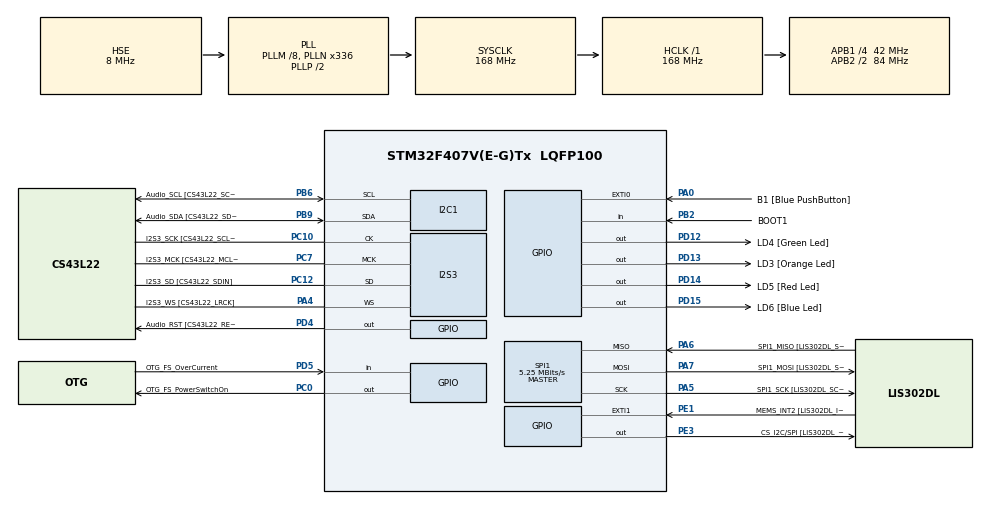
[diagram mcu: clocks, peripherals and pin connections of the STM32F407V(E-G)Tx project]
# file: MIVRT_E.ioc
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FREERTOS.Tasks01=Sensor,40,256,Task_sensor,Default,NULL,Dynamic,NULL,NULL;Proceso,32,256,Task_proceso,Default,NULL,Dynamic,NULL,NULL;Seguridad,24,256,Task_seguridad,Default,NULL,Dynamic,NULL,NULL;comms,16,256,Task_comms,Default,NULL,Dynamic,NULL,NULL;Carrera,9,128,Task_carrera,Default,NULL,Dynamic,NULL,NULL;Diagnostico,8,128,Task_diagnostico,Default,NULL,Dynamic,NULL,NULL
I2S3.AudioFreq-Half_Duplex_Master=I2S_AUDIOFREQ_96K
I2S3.ErrorAudioFreq=-2.34 %
I2S3.ErrorAudioFreq-Half_Duplex_Master=0.8 %
I2S3.FullDuplexMode=I2S_FULLDUPLEXMODE_DISABLE
I2S3.Instance=SPI$Index
I2S3.RealAudioFreq=93.75 KHz
I2S3.RealAudioFreq-Half_Duplex_Master=96.774 KHz
I2S3.VirtualMode=I2S_MODE_MASTER
Mcu.Family=STM32F4
Mcu.Name=STM32F407V(E-G)Tx
Mcu.Package=LQFP100
NVIC.PriorityGroup=NVIC_PRIORITYGROUP_4
NVIC.TIM6_DAC_IRQn=true\:15\:0\:false\:false\:true\:false\:false\:true\:true
NVIC.TimeBase=TIM6_DAC_IRQn
NVIC.TimeBaseIP=TIM6
PA0-WKUP.GPIO_Label=B1 [Blue PushButton]
PA0-WKUP.GPIO_ModeDefaultEXTI=GPIO_MODE_EVT_RISING
PA0-WKUP.GPIO_PuPd=GPIO_NOPULL
PA0-WKUP.Signal=GPXTI0
PA10.GPIO_Label=OTG_FS_ID
PA10.GPIO_Mode=GPIO_MODE_AF_PP
PA10.GPIO_PuPd=GPIO_NOPULL
PA10.GPIO_Speed=GPIO_SPEED_FREQ_LOW
PA10.Signal=USB_OTG_FS_ID
PA11.GPIO_Label=OTG_FS_DM
PA11.GPIO_Mode=GPIO_MODE_AF_PP
PA11.GPIO_PuPd=GPIO_NOPULL
PA11.GPIO_Speed=GPIO_SPEED_FREQ_LOW
PA11.Signal=USB_OTG_FS_DM
PA12.GPIO_Label=OTG_FS_DP
PA12.GPIO_Mode=GPIO_MODE_AF_PP
PA12.GPIO_PuPd=GPIO_NOPULL
PA12.GPIO_Speed=GPIO_SPEED_FREQ_LOW
PA12.Signal=USB_OTG_FS_DP
PA13.GPIO_Label=SWDIO
PA13.Mode=Serial_Wire
PA13.Signal=SYS_JTMS-SWDIO
PA14.GPIO_Label=SWCLK
PA14.Mode=Serial_Wire
PA14.Signal=SYS_JTCK-SWCLK
PA4.GPIO_Label=I2S3_WS [CS43L22_LRCK]
PA4.GPIO_Mode=GPIO_MODE_AF_PP
PA4.GPIO_PuPd=GPIO_NOPULL
PA4.GPIO_Speed=GPIO_SPEED_FREQ_LOW
PA4.Mode=Half_Duplex_Master
PA4.Signal=I2S3_WS
PA5.GPIO_Label=SPI1_SCK [LIS302DL_SCL/SPC]
PA5.GPIO_Mode=GPIO_MODE_AF_PP
PA5.GPIO_PuPd=GPIO_NOPULL
PA5.GPIO_Speed=GPIO_SPEED_FREQ_LOW
PA5.Mode=Full_Duplex_Master
PA5.Signal=SPI1_SCK
PA6.GPIO_Label=SPI1_MISO [LIS302DL_SDO]
PA6.GPIO_Mode=GPIO_MODE_AF_PP
PA6.GPIO_PuPd=GPIO_NOPULL
PA6.GPIO_Speed=GPIO_SPEED_FREQ_LOW
PA6.Mode=Full_Duplex_Master
PA6.Signal=SPI1_MISO
PA7.GPIO_Label=SPI1_MOSI [LIS302DL_SDA/SDI/SDO]
PA7.GPIO_Mode=GPIO_MODE_AF_PP
PA7.GPIO_PuPd=GPIO_NOPULL
PA7.GPIO_Speed=GPIO_SPEED_FREQ_LOW
PA7.Mode=Full_Duplex_Master
PA7.Signal=SPI1_MOSI
PA9.GPIO_Label=VBUS_FS
PA9.GPIO_Mode=GPIO_MODE_INPUT
PA9.GPIO_PuPd=GPIO_NOPULL
PA9.Signal=USB_OTG_FS_VBUS
PB10.GPIO_Label=CLK_IN [MP45DT02_CLK]
PB10.GPIO_Mode=GPIO_MODE_AF_PP
PB10.GPIO_PuPd=GPIO_NOPULL
PB10.GPIO_Speed=GPIO_SPEED_FREQ_LOW
PB10.Signal=I2S2_CK
PB2.GPIO_Label=BOOT1
PB2.GPIO_Mode=GPIO_MODE_INPUT
PB2.GPIO_PuPd=GPIO_NOPULL
PB2.Signal=GPIO_Input
PB3.GPIO_Label=SWO
PB3.Signal=SYS_JTDO-SWO
PB6.GPIO_Label=Audio_SCL [CS43L22_SCL]
PB6.GPIO_Mode=GPIO_MODE_AF_OD
PB6.GPIO_Pu=GPIO_PULLUP
PB6.GPIO_PuPd=GPIO_NOPULL
PB6.GPIO_Speed=GPIO_SPEED_FREQ_LOW
PB6.Mode=I2C
PB6.Signal=I2C1_SCL
PB9.GPIO_Label=Audio_SDA [CS43L22_SDA]
PB9.GPIO_Mode=GPIO_MODE_AF_OD
PB9.GPIO_Pu=GPIO_PULLUP
PB9.GPIO_PuPd=GPIO_NOPULL
PB9.GPIO_Speed=GPIO_SPEED_FREQ_LOW
PB9.Mode=I2C
PB9.Signal=I2C1_SDA
PC0.GPIO_Label=OTG_FS_PowerSwitchOn
PC0.GPIO_PuPd=GPIO_NOPULL
PC0.GPIO_Speed=GPIO_SPEED_FREQ_LOW
PC0.PinState=GPIO_PIN_SET
PC0.Signal=GPIO_Output
PC10.GPIO_Label=I2S3_SCK [CS43L22_SCLK]
PC10.GPIO_Mode=GPIO_MODE_AF_PP
PC10.GPIO_PuPd=GPIO_NOPULL
PC10.GPIO_Speed=GPIO_SPEED_FREQ_LOW
PC10.Mode=Half_Duplex_Master
PC10.Signal=I2S3_CK
PC12.GPIO_Label=I2S3_SD [CS43L22_SDIN]
PC12.GPIO_Mode=GPIO_MODE_AF_PP
PC12.GPIO_PuPd=GPIO_NOPULL
PC12.GPIO_Speed=GPIO_SPEED_FREQ_LOW
PC12.Mode=Half_Duplex_Master
PC12.Signal=I2S3_SD
PC14-OSC32_IN.GPIO_Label=PC14-OSC32_IN
PC14-OSC32_IN.Mode=LSE-External-Oscillator
PC14-OSC32_IN.Signal=RCC_OSC32_IN
PC15-OSC32_OUT.GPIO_Label=PC15-OSC32_OUT
PC15-OSC32_OUT.Mode=LSE-External-Oscillator
PC15-OSC32_OUT.Signal=RCC_OSC32_OUT
PC3.GPIO_Label=PDM_OUT [MP45DT02_DOUT]
PC3.GPIO_Mode=GPIO_MODE_AF_PP
PC3.GPIO_PuPd=GPIO_NOPULL
PC3.GPIO_Speed=GPIO_SPEED_FREQ_LOW
PC3.Signal=I2S2_SD
PC7.GPIO_Label=I2S3_MCK [CS43L22_MCLK]
PC7.GPIO_Mode=GPIO_MODE_AF_PP
PC7.GPIO_PuPd=GPIO_NOPULL
PC7.GPIO_Speed=GPIO_SPEED_FREQ_LOW
PC7.Mode=Master_Clock_Activated
PC7.Signal=I2S3_MCK
PD12.GPIO_Label=LD4 [Green Led]
PD12.GPIO_PuPd=GPIO_NOPULL
PD12.GPIO_Speed=GPIO_SPEED_FREQ_LOW
PD12.Signal=GPIO_Output
PD13.GPIO_Label=LD3 [Orange Led]
PD13.GPIO_PuPd=GPIO_NOPULL
PD13.GPIO_Speed=GPIO_SPEED_FREQ_LOW
PD13.Signal=GPIO_Output
PD14.GPIO_Label=LD5 [Red Led]
PD14.GPIO_PuPd=GPIO_NOPULL
PD14.GPIO_Speed=GPIO_SPEED_FREQ_LOW
PD14.Signal=GPIO_Output
PD15.GPIO_Label=LD6 [Blue Led]
PD15.GPIO_PuPd=GPIO_NOPULL
PD15.GPIO_Speed=GPIO_SPEED_FREQ_LOW
PD15.Signal=GPIO_Output
PD4.GPIO_Label=Audio_RST [CS43L22_RESET]
PD4.GPIO_PuPd=GPIO_NOPULL
PD4.GPIO_Speed=GPIO_SPEED_FREQ_LOW
PD4.Signal=GPIO_Output
PD5.GPIO_Label=OTG_FS_OverCurrent
PD5.GPIO_Mode=GPIO_MODE_INPUT
PD5.GPIO_PuPd=GPIO_NOPULL
PD5.Signal=GPIO_Input
PE1.GPIO_Label=MEMS_INT2 [LIS302DL_INT2]
PE1.GPIO_ModeDefaultEXTI=GPIO_MODE_EVT_RISING
PE1.GPIO_PuPd=GPIO_NOPULL
PE1.Signal=GPXTI1
PE3.GPIO_Label=CS_I2C/SPI [LIS302DL_CS_I2C/SPI]
PE3.GPIO_PuPd=GPIO_NOPULL
PE3.GPIO_Speed=GPIO_SPEED_FREQ_LOW
PE3.PinState=GPIO_PIN_SET
PE3.Signal=GPIO_Output
PH0-OSC_IN.GPIO_Label=PH0-OSC_IN
PH0-OSC_IN.Mode=HSE-External-Oscillator
PH0-OSC_IN.Signal=RCC_OSC_IN
PH1-OSC_OUT.GPIO_Label=PH1-OSC_OUT
PH1-OSC_OUT.Mode=HSE-External-Oscillator
PH1-OSC_OUT.Signal=RCC_OSC_OUT
ProjectManager.HeapSize=0x200
ProjectManager.StackSize=0x400
ProjectManager.TargetToolchain=STM32CubeIDE
RCC.48MHZClocksFreq_Value=48000000
RCC.AHBFreq_Value=168000000
RCC.APB1CLKDivider=RCC_HCLK_DIV4
RCC.APB1Freq_Value=42000000
RCC.APB1TimFreq_Value=84000000
RCC.APB2CLKDivider=RCC_HCLK_DIV2
RCC.APB2Freq_Value=84000000
RCC.APB2TimFreq_Value=168000000
RCC.CortexFreq_Value=168000000
RCC.HCLKFreq_Value=168000000
RCC.HSE_VALUE=8000000
RCC.HSI_VALUE=16000000
RCC.PLLM=8
RCC.PLLN=336
RCC.PLLQ=7
RCC.PLLSourceVirtual=RCC_PLLSOURCE_HSE
RCC.SYSCLKFreq_VALUE=168000000
RCC.SYSCLKSource=RCC_SYSCLKSOURCE_PLLCLK
RCC.VCOOutputFreq_Value=336000000
SPI1.BaudRatePrescaler=SPI_BAUDRATEPRESCALER_16
SPI1.BaudRatePrescaler-Full_Duplex_Master=SPI_BAUDRATEPRESCALER_2
SPI1.CLKPhase=SPI_PHASE_2EDGE
SPI1.CLKPolarity=SPI_POLARITY_HIGH
SPI1.CalculateBaudRate=5.25 MBits/s
SPI1.CalculateBaudRate-Full_Duplex_Master=42.0 MBits/s
SPI1.Direction=SPI_DIRECTION_2LINES
SPI1.Mode=SPI_MODE_MASTER
SPI1.Mode-Full_Duplex_Master=SPI_MODE_MASTER
SPI1.VirtualType=VM_MASTER
VP_FREERTOS_VS_CMSIS_V2.Mode=CMSIS_V2
VP_SYS_VS_tim6.Mode=TIM6
board=STM32F407G-DISC1

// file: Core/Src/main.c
/* USER CODE BEGIN Header */
/**
  ******************************************************************************
  * @file           : main.c
  * @brief          : MIV-RT - Hito 1, Parte E (vibracion, integracion y entrega)
  *
  * Base: MIVRT_D (funcionando) + Reto 1.13 + Paso E.2.
  ******************************************************************************
  * @attention
  *
  * Copyright (c) 2026 STMicroelectronics.
  * All rights reserved.
  *
  * This software is licensed under terms that can be found in the LICENSE file
  * in the root directory of this software component.
  * If no LICENSE file comes with this software, it is provided AS-IS.
  *
  ******************************************************************************
  */
/* USER CODE END Header */
#include "main.h"
#include "cmsis_os.h"

/* USER CODE BEGIN Includes */
#include <math.h>
/* USER CODE END Includes */

/* USER CODE BEGIN PTD */
typedef enum { Verde, Naranja, Rojo, Fallo } estado_t;
/* USER CODE END PTD */

/* USER CODE BEGIN PD */
// ---- LIS3DSH ----
#define LIS_READ    0x80
#define WHOAMI_REG  0x0F
#define WHOAMI_VAL  0x3F
#define CTRL_REG4   0x20
#define CTRL_REG5   0x24
#define CTRL_REG6   0x25
#define OUT_X_L     0x28

// Reto 1.13: indice de vibracion
#define W           10
#define VON         30.0f
#define VOFF        20.0f

#define EJEMPLO_SOBRECARGA  0   // Reto 1.9: Proceso con C = 12 ms
#define EJEMPLO_CARRERA     0   // Reto 1.12: tarea Carrera + incrementa()
#define EJEMPLO_FPU         0   // Reto 1.10: comparacion float/double

// ---- Prueba de RF-4 ----

#define PRUEBA_FALLO        0

#define EXPERIMENTO_INVERSION 0
/* USER CODE END PD */

I2C_HandleTypeDef hi2c1;

I2S_HandleTypeDef hi2s3;

SPI_HandleTypeDef hspi1;

/* Definitions for Sensor */
osThreadId_t SensorHandle;
const osThreadAttr_t Sensor_attributes = {
  .name = "Sensor",
  .stack_size = 256 * 4,
  .priority = (osPriority_t) osPriorityHigh,
};
/* Definitions for Proceso */
osThreadId_t ProcesoHandle;
const osThreadAttr_t Proceso_attributes = {
  .name = "Proceso",
  .stack_size = 256 * 4,
  .priority = (osPriority_t) osPriorityAboveNormal,
};
/* Definitions for Seguridad */
osThreadId_t SeguridadHandle;
const osThreadAttr_t Seguridad_attributes = {
  .name = "Seguridad",
  .stack_size = 256 * 4,
  .priority = (osPriority_t) osPriorityNormal,
};
/* Definitions for comms */
osThreadId_t commsHandle;
const osThreadAttr_t comms_attributes = {
  .name = "comms",
  .stack_size = 256 * 4,
  .priority = (osPriority_t) osPriorityBelowNormal,
};
/* Definitions for Carrera */
osThreadId_t CarreraHandle;
const osThreadAttr_t Carrera_attributes = {
  .name = "Carrera",
  .stack_size = 128 * 4,
  .priority = (osPriority_t) osPriorityLow1,
};
/* Definitions for Diagnostico */
osThreadId_t DiagnosticoHandle;
const osThreadAttr_t Diagnostico_attributes = {
  .name = "Diagnostico",
  .stack_size = 128 * 4,
  .priority = (osPriority_t) osPriorityLow,
};

/* USER CODE BEGIN PV */
// Sensor / arranque
volatile uint8_t error=0;
volatile uint8_t who = 0;
volatile uint8_t r4 = 0, r5 = 0, r6 = 0;
volatile uint8_t init_err = 1;
volatile uint8_t raw[6];
volatile int16_t ax, ay, az;          // ultima muestra publicada por Sensor
volatile uint32_t seq_sensor = 0;     // numero de secuencia de esa muestra (1.13.3)
osMutexId_t spi_mtx;

const osMutexAttr_t spi_mtx_attr = {
"spiMutex",
osMutexPrioInherit, // <- activa la herencia de prioridad
NULL, 0U
};

volatile float ax_mg, ay_mg, az_mg;
volatile uint32_t seq_proceso = 0;    // secuencia de la muestra que esta usando Proceso

// Tiempos de computo-
volatile uint32_t c_sensor_max_us = 0;
volatile uint32_t c_proceso_max_us = 0;
volatile uint32_t c_seguridad_max_us = 0;
volatile uint32_t c_comms_max_us = 0;

//Reto 1.8: periodo y jitter de Sensor
volatile uint32_t sensor_periodo_us = 0;
volatile uint32_t sensor_per_max_us = 0;
volatile uint32_t sensor_per_min_us = 999999;
volatile uint32_t sensor_jitter_us = 0;

// Reto 1.9: tiempo de respuesta
volatile uint32_t sensor_R_ms = 0;
volatile uint32_t sensor_R_max_ms = 0;
volatile uint32_t sensor_perdidos = 0;

// Retos 1.10 / 1.11
volatile float pitch_grados, roll_grados;
volatile float inclinacion = 0.0f;
volatile estado_t estado = Verde;
#if EJEMPLO_FPU
volatile uint32_t t_float, t_double;
#endif

// Reto 1.12
volatile uint32_t contador = 0;
volatile uint32_t privado_sensor = 0, privado_carrera = 0;

//Reto 1.13: vibracion
volatile float a_mod = 0.0f;          // |a| de la ultima muestra usada (mg)
volatile float V = 0.0f;              // indice de vibracion de la ultima ventana cerrada (mg)

volatile float V_max = 0.0f;          // V maximo desde el ultimo reinicio (mg)
volatile float V_min = 1e9f;          // V minimo desde el ultimo reinicio (mg)
volatile float V_media = 0.0f;        // V medio desde el ultimo reinicio (mg)
static float V_suma = 0.0f;
volatile uint32_t ventanas_medidas = 0;     // ventanas cerradas desde el ultimo reinicio
volatile uint32_t ventanas_con_vibracion = 0; // de ellas, con LED azul encendido
volatile uint32_t medida_n = 0;             // cuantas veces se ha pulsado el boton (identifica la captura)
volatile uint8_t vibracion = 0;       // estado del LED azul
static float ventana[W];              // |a| de las muestras de la ventana actual que llegan a Proceso
static uint32_t n_ventana = 0;        // cuantas muestras van en la ventana actual
static uint32_t id_ventana = 0;       // numero de ventana actual (= (seq-1)/W)
volatile uint32_t ventanas_cerradas = 0;
volatile uint32_t usadas_ultima_ventana = 0;    // de cada W muestras de Sensor, cuantas usa Proceso
volatile uint32_t perdidas_ultima_ventana = 0;  // W - usadas
volatile uint32_t muestras_usadas = 0;          // totales
volatile uint32_t muestras_perdidas = 0;        // totales (saltos de secuencia)
volatile uint32_t muestras_repetidas = 0;       // Proceso vio la misma secuencia dos veces

volatile uint8_t firma_esperada=WHOAMI_VAL;
/* USER CODE END PV */

void SystemClock_Config(void);
static void MX_GPIO_Init(void);
static void MX_I2C1_Init(void);
static void MX_I2S3_Init(void);
static void MX_SPI1_Init(void);
void Task_sensor(void *argument);
void Task_proceso(void *argument);
void Task_seguridad(void *argument);
void Task_comms(void *argument);
void Task_carrera(void *argument);
void Task_diagnostico(void *argument);

/* USER CODE BEGIN 0 */
static void cs_low(void)  { HAL_GPIO_WritePin(GPIOE, GPIO_PIN_3, GPIO_PIN_RESET); }
static void cs_high(void) { HAL_GPIO_WritePin(GPIOE, GPIO_PIN_3, GPIO_PIN_SET); }

// Lee 'n' (<= 6) registros consecutivos a partir de 'reg'.

void lis_read(uint8_t reg, uint8_t *buf, uint16_t n)
{
    uint8_t tx[7] = {0}, rx[7] = {0};
    tx[0] = LIS_READ | reg;

    cs_low();
    HAL_SPI_TransmitReceive(&hspi1, tx, rx, n + 1, HAL_MAX_DELAY);
    cs_high();

    for (uint16_t i = 0; i < n; i++)
        buf[i] = rx[i + 1];                     // rx[0] se descarta
}

void lis_write(uint8_t reg, uint8_t val)
{
    uint8_t tx[2];
    tx[0] = reg & 0x7F;                         // bit 7 = 0  escritura
    tx[1] = val;

    cs_low();
    HAL_SPI_Transmit(&hspi1, tx, 2, HAL_MAX_DELAY);
    cs_high();
}

void lis_read_safe(uint8_t reg, uint8_t *buf, uint16_t n)
{
	 osMutexAcquire(spi_mtx, osWaitForever); // Cojo el mutex
	 lis_read(reg, buf, n);
	 osMutexRelease(spi_mtx);				//suelto el mutex

}

void lis_write_safe(uint8_t reg, uint8_t val)
{
	 osMutexAcquire(spi_mtx, osWaitForever); // Cojo el mutex
     lis_write( reg,  val);
     osMutexRelease(spi_mtx);				//suelto el mutex

}

// Devuelve 0 si el sensor responde y queda configurado; 1 si no (RF-4).
uint8_t lis_init(void)
{
    uint8_t id = 0;
    lis_read(WHOAMI_REG, &id, 1);               // prueba de vida
    if (id != WHOAMI_VAL) return 1;

    lis_write(CTRL_REG4, 0x6F);
    lis_write(CTRL_REG5, 0xC0);
    lis_write(CTRL_REG6, 0x10);
    return 0;
}

// Sensor: lee y publica la muestra + su numero de secuencia de forma atomica
static void leer_sensor(void)
{
    uint8_t b[6];
    lis_read_safe(OUT_X_L, b, 6);

    taskENTER_CRITICAL();
    for (int i = 0; i < 6; i++) raw[i] = b[i];
    ax = (int16_t)((b[1] << 8) | b[0]);
    ay = (int16_t)((b[3] << 8) | b[2]);
    az = (int16_t)((b[5] << 8) | b[4]);
    seq_sensor++;                               // (1.13.3)
    taskEXIT_CRITICAL();
}

//  Reto 1.12.3
static void convertir_mg(void)
{
    taskENTER_CRITICAL();
    int16_t x = ax, y = ay, z = az;
    uint32_t s = seq_sensor;
    taskEXIT_CRITICAL();

    ax_mg = x * 0.06f;
    ay_mg = y * 0.06f;
    az_mg = z * 0.06f;
    seq_proceso = s;
}

static void calcular_angulos(void)
{
    pitch_grados = atan2f(ax_mg, sqrtf(ay_mg*ay_mg + az_mg*az_mg)) * 57.29578f;
    roll_grados  = atan2f(ay_mg, az_mg) * 57.29578f;
}

#if EJEMPLO_FPU
static void comparar_fpu(void)
{
    uint32_t t0 = DWT->CYCCNT;
    volatile float pf = atan2f(ax_mg, sqrtf(ay_mg*ay_mg + az_mg*az_mg)) * 57.29578f;
    t_float = DWT->CYCCNT - t0;

    t0 = DWT->CYCCNT;
    volatile double pd = atan2((double)ax_mg, sqrt((double)ay_mg*ay_mg + (double)az_mg*az_mg)) * 57.29578;
    t_double = DWT->CYCCNT - t0;
    (void)pf; (void)pd;
}
#endif

// Desviacion tipica de las n muestras de la ventana
static float desviacion(const float *v, uint32_t n)
{
    float media = 0.0f;
    for (uint32_t i = 0; i < n; i++) media += v[i];
    media /= (float)n;

    float suma = 0.0f;
    for (uint32_t i = 0; i < n; i++) {
        float e = v[i] - media;
        suma += e * e;
    }
    return sqrtf(suma / (float)n);
}

// Reto 1.13: V = desviacion tipica de |a| en ventanas de W muestras de Sensor.
static void calcular_vibracion(void)
{
    static uint32_t seq_ant = 0;
    uint32_t s = seq_proceso;

    if (s == 0) return;                         // Sensor aun no ha publicado nada

    if (s == seq_ant) {                         // misma muestra que la vez anterior
        muestras_repetidas++;
        return;
    }
    if (seq_ant != 0 && (s - seq_ant) > 1)
        muestras_perdidas += (s - seq_ant - 1);
    seq_ant = s;
    muestras_usadas++;

    // A que ventana pertenece esta muestra
    uint32_t id = (s - 1) / W;

    if (id != id_ventana) {                     // se cierra la ventana anterior
        if (n_ventana >= 2) {
            V = desviacion(ventana, n_ventana);
            if (V > V_max) V_max = V;
            if (V < V_min) V_min = V;
            V_suma += V;
            ventanas_medidas++;
            V_media = V_suma / (float)ventanas_medidas;

            // Histeresis (LED azul)
            if (!vibracion && V >= VON)       vibracion = 1;
            else if (vibracion && V <= VOFF)  vibracion = 0;
            HAL_GPIO_WritePin(GPIOD, GPIO_PIN_15, vibracion ? GPIO_PIN_SET : GPIO_PIN_RESET);

            usadas_ultima_ventana   = n_ventana;
            perdidas_ultima_ventana = W - n_ventana;
            ventanas_cerradas++;
            if (vibracion) ventanas_con_vibracion++;
        }
        id_ventana = id;
        n_ventana = 0;
    }

    a_mod = sqrtf(ax_mg*ax_mg + ay_mg*ay_mg + az_mg*az_mg);
    if (n_ventana < W) ventana[n_ventana++] = a_mod;
}

// Boton azul (B1) reinicia todas las estadisticas para empezar una medida nueva.
static void reiniciar_medidas(void)
{
    taskENTER_CRITICAL();
    V_max = 0.0f; V_min = 1e9f; V_media = 0.0f; V_suma = 0.0f;
    ventanas_medidas = 0; ventanas_con_vibracion = 0;
    muestras_usadas = 0; muestras_perdidas = 0; muestras_repetidas = 0;
    c_sensor_max_us = 0; c_proceso_max_us = 0; c_seguridad_max_us = 0; c_comms_max_us = 0;
    sensor_per_max_us = 0; sensor_per_min_us = 999999; sensor_jitter_us = 0;
    sensor_R_max_ms = 0; sensor_perdidos = 0;
    medida_n++;
    taskEXIT_CRITICAL();
}

static void leer_boton(void)
{
    static uint8_t antes = 0;
    uint8_t ahora = (HAL_GPIO_ReadPin(B1_GPIO_Port, B1_Pin) == GPIO_PIN_SET);
    if (ahora && !antes) reiniciar_medidas();   // flanco de subida = pulsacion
    antes = ahora;
}

static void maquina_estados(void)
{
    inclinacion = fmaxf(fabsf(pitch_grados), fabsf(roll_grados));

    switch (estado) {
        case Verde:
            if (inclinacion >= 30.0f)      estado = Rojo;
            else if (inclinacion >= 15.0f) estado = Naranja;
            break;
        case Naranja:
            if (inclinacion >= 30.0f)      estado = Rojo;
            else if (inclinacion < 13.0f)  estado = Verde;
            break;
        case Rojo:
            if (inclinacion < 13.0f)       estado = Verde;
            else if (inclinacion < 28.0f)  estado = Naranja;
            break;
        case Fallo:
            break;                          // RF-4: de FALLO no se sale
    }

    switch (estado) {
        case Verde:
            HAL_GPIO_WritePin(GPIOD, GPIO_PIN_12, GPIO_PIN_SET);
            HAL_GPIO_WritePin(GPIOD, GPIO_PIN_13, GPIO_PIN_RESET);
            HAL_GPIO_WritePin(GPIOD, GPIO_PIN_14, GPIO_PIN_RESET);
            break;
        case Naranja:
            HAL_GPIO_WritePin(GPIOD, GPIO_PIN_12, GPIO_PIN_RESET);
            HAL_GPIO_WritePin(GPIOD, GPIO_PIN_13, GPIO_PIN_SET);
            HAL_GPIO_WritePin(GPIOD, GPIO_PIN_14, GPIO_PIN_RESET);
            break;
        case Rojo:
            HAL_GPIO_WritePin(GPIOD, GPIO_PIN_12, GPIO_PIN_RESET);
            HAL_GPIO_WritePin(GPIOD, GPIO_PIN_13, GPIO_PIN_RESET);
            HAL_GPIO_WritePin(GPIOD, GPIO_PIN_14, GPIO_PIN_SET);
            break;
        case Fallo:
            HAL_GPIO_WritePin(GPIOD, GPIO_PIN_12, GPIO_PIN_RESET);
            HAL_GPIO_WritePin(GPIOD, GPIO_PIN_13, GPIO_PIN_RESET);
            HAL_GPIO_TogglePin(GPIOD, GPIO_PIN_14);   // rojo parpadeando
            break;
    }
}

#if EJEMPLO_SOBRECARGA || EJEMPLO_CARRERA
void quemar_cpu_us(uint32_t us)
{
    uint32_t acc = 0, prev = DWT->CYCCNT;
    while (acc < us * 168u) {
        uint32_t now = DWT->CYCCNT, d = now - prev; prev = now;
        if (d < 1680u) acc += d;
    }
}
#endif

#if EJEMPLO_CARRERA
void incrementa(void)
{
    taskENTER_CRITICAL();
    uint32_t tmp = contador;
    quemar_cpu_us(200);
    contador = tmp + 1;
    taskEXIT_CRITICAL();
}
#endif

/* USER CODE END 0 */

int main(void)
{

  /* MCU Configuration--------------------------------------------------------*/

  /* Reset of all peripherals, Initializes the Flash interface and the Systick. */
  HAL_Init();

  /* Configure the system clock */
  SystemClock_Config();

  /* Initialize all configured peripherals */
  MX_GPIO_Init();
  MX_I2C1_Init();
  MX_I2S3_Init();
  MX_SPI1_Init();
  /* USER CODE BEGIN 2 */
  // Contador de ciclos DWT (medidas de C, periodo y jitter)
  CoreDebug->DEMCR |= CoreDebug_DEMCR_TRCENA_Msk;
  DWT->CYCCNT = 0;
  DWT->CTRL |= DWT_CTRL_CYCCNTENA_Msk;

  __HAL_SPI_ENABLE(&hspi1);
  HAL_Delay(10);
  cs_high();

  init_err = lis_init();
#if PRUEBA_FALLO
  init_err = 1;
#endif
  if (init_err != 0) estado = Fallo;            // RF-4

  lis_read(WHOAMI_REG, (uint8_t*)&who, 1);      // debe dar 0x3F
  lis_read(CTRL_REG4,  (uint8_t*)&r4, 1);       // debe dar 0x6F
  lis_read(CTRL_REG5,  (uint8_t*)&r5, 1);       // debe dar 0xC0
  lis_read(CTRL_REG6,  (uint8_t*)&r6, 1);       // debe dar 0x10
  /* USER CODE END 2 */

  /* Init scheduler */
  osKernelInitialize();

  /* USER CODE BEGIN RTOS_MUTEX */
  spi_mtx = osMutexNew(&spi_mtx_attr);
  /* USER CODE END RTOS_MUTEX */

  /* Create the thread(s) */
  /* creation of Sensor */
  SensorHandle = osThreadNew(Task_sensor, NULL, &Sensor_attributes);

  /* creation of Proceso */
  ProcesoHandle = osThreadNew(Task_proceso, NULL, &Proceso_attributes);

  /* creation of Seguridad */
  SeguridadHandle = osThreadNew(Task_seguridad, NULL, &Seguridad_attributes);

  /* creation of comms */
  commsHandle = osThreadNew(Task_comms, NULL, &comms_attributes);

  /* creation of Carrera */
  CarreraHandle = osThreadNew(Task_carrera, NULL, &Carrera_attributes);

  /* creation of Diagnostico */
  DiagnosticoHandle = osThreadNew(Task_diagnostico, NULL, &Diagnostico_attributes);

  /* USER CODE BEGIN RTOS_THREADS */
  //osThreadSetPriority(ProcesoHandle, osPriorityRealtime);   // Reto 1.9 caso (b) descomentar para poner Proceso por encima de Sensor
  /* USER CODE END RTOS_THREADS */

  /* Start scheduler */
  osKernelStart();

  /* We should never get here as control is now taken by the scheduler */

  /* Infinite loop */
  while (1)
  {

  }
}

void SystemClock_Config(void)
{
  RCC_OscInitTypeDef RCC_OscInitStruct = {0};
  RCC_ClkInitTypeDef RCC_ClkInitStruct = {0};

  /** Configure the main internal regulator output voltage
  */
  __HAL_RCC_PWR_CLK_ENABLE();
  __HAL_PWR_VOLTAGESCALING_CONFIG(PWR_REGULATOR_VOLTAGE_SCALE1);

  /** Initializes the RCC Oscillators according to the specified parameters
  * in the RCC_OscInitTypeDef structure.
  */
  RCC_OscInitStruct.OscillatorType = RCC_OSCILLATORTYPE_HSE;
  RCC_OscInitStruct.HSEState = RCC_HSE_ON;
  RCC_OscInitStruct.PLL.PLLState = RCC_PLL_ON;
  RCC_OscInitStruct.PLL.PLLSource = RCC_PLLSOURCE_HSE;
  RCC_OscInitStruct.PLL.PLLM = 8;
  RCC_OscInitStruct.PLL.PLLN = 336;
  RCC_OscInitStruct.PLL.PLLP = RCC_PLLP_DIV2;
  RCC_OscInitStruct.PLL.PLLQ = 7;
  if (HAL_RCC_OscConfig(&RCC_OscInitStruct) != HAL_OK)
  {
    Error_Handler();
  }

  /** Initializes the CPU, AHB and APB buses clocks
  */
  RCC_ClkInitStruct.ClockType = RCC_CLOCKTYPE_HCLK|RCC_CLOCKTYPE_SYSCLK
                              |RCC_CLOCKTYPE_PCLK1|RCC_CLOCKTYPE_PCLK2;
  RCC_ClkInitStruct.SYSCLKSource = RCC_SYSCLKSOURCE_PLLCLK;
  RCC_ClkInitStruct.AHBCLKDivider = RCC_SYSCLK_DIV1;
  RCC_ClkInitStruct.APB1CLKDivider = RCC_HCLK_DIV4;
  RCC_ClkInitStruct.APB2CLKDivider = RCC_HCLK_DIV2;

  if (HAL_RCC_ClockConfig(&RCC_ClkInitStruct, FLASH_LATENCY_5) != HAL_OK)
  {
    Error_Handler();
  }
}

static void MX_I2C1_Init(void)
{

  hi2c1.Instance = I2C1;
  hi2c1.Init.ClockSpeed = 100000;
  hi2c1.Init.DutyCycle = I2C_DUTYCYCLE_2;
  hi2c1.Init.OwnAddress1 = 0;
  hi2c1.Init.AddressingMode = I2C_ADDRESSINGMODE_7BIT;
  hi2c1.Init.DualAddressMode = I2C_DUALADDRESS_DISABLE;
  hi2c1.Init.OwnAddress2 = 0;
  hi2c1.Init.GeneralCallMode = I2C_GENERALCALL_DISABLE;
  hi2c1.Init.NoStretchMode = I2C_NOSTRETCH_DISABLE;
  if (HAL_I2C_Init(&hi2c1) != HAL_OK)
  {
    Error_Handler();
  }

}

static void MX_I2S3_Init(void)
{

  hi2s3.Instance = SPI3;
  hi2s3.Init.Mode = I2S_MODE_MASTER_TX;
  hi2s3.Init.Standard = I2S_STANDARD_PHILIPS;
  hi2s3.Init.DataFormat = I2S_DATAFORMAT_16B;
  hi2s3.Init.MCLKOutput = I2S_MCLKOUTPUT_ENABLE;
  hi2s3.Init.AudioFreq = I2S_AUDIOFREQ_96K;
  hi2s3.Init.CPOL = I2S_CPOL_LOW;
  hi2s3.Init.ClockSource = I2S_CLOCK_PLL;
  hi2s3.Init.FullDuplexMode = I2S_FULLDUPLEXMODE_DISABLE;
  if (HAL_I2S_Init(&hi2s3) != HAL_OK)
  {
    Error_Handler();
  }

}

static void MX_SPI1_Init(void)
{

  /* SPI1 parameter configuration*/
  hspi1.Instance = SPI1;
  hspi1.Init.Mode = SPI_MODE_MASTER;
  hspi1.Init.Direction = SPI_DIRECTION_2LINES;
  hspi1.Init.DataSize = SPI_DATASIZE_8BIT;
  hspi1.Init.CLKPolarity = SPI_POLARITY_HIGH;
  hspi1.Init.CLKPhase = SPI_PHASE_2EDGE;
  hspi1.Init.NSS = SPI_NSS_SOFT;
  hspi1.Init.BaudRatePrescaler = SPI_BAUDRATEPRESCALER_16;
  hspi1.Init.FirstBit = SPI_FIRSTBIT_MSB;
  hspi1.Init.TIMode = SPI_TIMODE_DISABLE;
  hspi1.Init.CRCCalculation = SPI_CRCCALCULATION_DISABLE;
  hspi1.Init.CRCPolynomial = 10;
  if (HAL_SPI_Init(&hspi1) != HAL_OK)
  {
    Error_Handler();
  }

}

static void MX_GPIO_Init(void)
{
  GPIO_InitTypeDef GPIO_InitStruct = {0};

  /* GPIO Ports Clock Enable */
  __HAL_RCC_GPIOE_CLK_ENABLE();
  __HAL_RCC_GPIOC_CLK_ENABLE();
  __HAL_RCC_GPIOH_CLK_ENABLE();
  __HAL_RCC_GPIOA_CLK_ENABLE();
  __HAL_RCC_GPIOB_CLK_ENABLE();
  __HAL_RCC_GPIOD_CLK_ENABLE();

  /*Configure GPIO pin Output Level */
  HAL_GPIO_WritePin(CS_I2C_SPI_GPIO_Port, CS_I2C_SPI_Pin, GPIO_PIN_SET);

  /*Configure GPIO pin Output Level */
  HAL_GPIO_WritePin(OTG_FS_PowerSwitchOn_GPIO_Port, OTG_FS_PowerSwitchOn_Pin, GPIO_PIN_SET);

  /*Configure GPIO pin Output Level */
  HAL_GPIO_WritePin(GPIOD, LD4_Pin|LD3_Pin|LD5_Pin|LD6_Pin
                          |Audio_RST_Pin, GPIO_PIN_RESET);

  /*Configure GPIO pin : CS_I2C_SPI_Pin */
  GPIO_InitStruct.Pin = CS_I2C_SPI_Pin;
  GPIO_InitStruct.Mode = GPIO_MODE_OUTPUT_PP;
  GPIO_InitStruct.Pull = GPIO_NOPULL;
  GPIO_InitStruct.Speed = GPIO_SPEED_FREQ_LOW;
  HAL_GPIO_Init(CS_I2C_SPI_GPIO_Port, &GPIO_InitStruct);

  /*Configure GPIO pin : OTG_FS_PowerSwitchOn_Pin */
  GPIO_InitStruct.Pin = OTG_FS_PowerSwitchOn_Pin;
  GPIO_InitStruct.Mode = GPIO_MODE_OUTPUT_PP;
  GPIO_InitStruct.Pull = GPIO_NOPULL;
  GPIO_InitStruct.Speed = GPIO_SPEED_FREQ_LOW;
  HAL_GPIO_Init(OTG_FS_PowerSwitchOn_GPIO_Port, &GPIO_InitStruct);

  /*Configure GPIO pin : PDM_OUT_Pin */
  GPIO_InitStruct.Pin = PDM_OUT_Pin;
  GPIO_InitStruct.Mode = GPIO_MODE_AF_PP;
  GPIO_InitStruct.Pull = GPIO_NOPULL;
  GPIO_InitStruct.Speed = GPIO_SPEED_FREQ_LOW;
  GPIO_InitStruct.Alternate = GPIO_AF5_SPI2;
  HAL_GPIO_Init(PDM_OUT_GPIO_Port, &GPIO_InitStruct);

  /*Configure GPIO pin : B1_Pin */
  GPIO_InitStruct.Pin = B1_Pin;
  GPIO_InitStruct.Mode = GPIO_MODE_EVT_RISING;
  GPIO_InitStruct.Pull = GPIO_NOPULL;
  HAL_GPIO_Init(B1_GPIO_Port, &GPIO_InitStruct);

  /*Configure GPIO pin : BOOT1_Pin */
  GPIO_InitStruct.Pin = BOOT1_Pin;
  GPIO_InitStruct.Mode = GPIO_MODE_INPUT;
  GPIO_InitStruct.Pull = GPIO_NOPULL;
  HAL_GPIO_Init(BOOT1_GPIO_Port, &GPIO_InitStruct);

  /*Configure GPIO pin : CLK_IN_Pin */
  GPIO_InitStruct.Pin = CLK_IN_Pin;
  GPIO_InitStruct.Mode = GPIO_MODE_AF_PP;
  GPIO_InitStruct.Pull = GPIO_NOPULL;
  GPIO_InitStruct.Speed = GPIO_SPEED_FREQ_LOW;
  GPIO_InitStruct.Alternate = GPIO_AF5_SPI2;
  HAL_GPIO_Init(CLK_IN_GPIO_Port, &GPIO_InitStruct);

  /*Configure GPIO pins : LD4_Pin LD3_Pin LD5_Pin LD6_Pin
                           Audio_RST_Pin */
  GPIO_InitStruct.Pin = LD4_Pin|LD3_Pin|LD5_Pin|LD6_Pin
                          |Audio_RST_Pin;
  GPIO_InitStruct.Mode = GPIO_MODE_OUTPUT_PP;
  GPIO_InitStruct.Pull = GPIO_NOPULL;
  GPIO_InitStruct.Speed = GPIO_SPEED_FREQ_LOW;
  HAL_GPIO_Init(GPIOD, &GPIO_InitStruct);

  /*Configure GPIO pin : VBUS_FS_Pin */
  GPIO_InitStruct.Pin = VBUS_FS_Pin;
  GPIO_InitStruct.Mode = GPIO_MODE_INPUT;
  GPIO_InitStruct.Pull = GPIO_NOPULL;
  HAL_GPIO_Init(VBUS_FS_GPIO_Port, &GPIO_InitStruct);

  /*Configure GPIO pins : OTG_FS_ID_Pin OTG_FS_DM_Pin OTG_FS_DP_Pin */
  GPIO_InitStruct.Pin = OTG_FS_ID_Pin|OTG_FS_DM_Pin|OTG_FS_DP_Pin;
  GPIO_InitStruct.Mode = GPIO_MODE_AF_PP;
  GPIO_InitStruct.Pull = GPIO_NOPULL;
  GPIO_InitStruct.Speed = GPIO_SPEED_FREQ_LOW;
  GPIO_InitStruct.Alternate = GPIO_AF10_OTG_FS;
  HAL_GPIO_Init(GPIOA, &GPIO_InitStruct);

  /*Configure GPIO pin : OTG_FS_OverCurrent_Pin */
  GPIO_InitStruct.Pin = OTG_FS_OverCurrent_Pin;
  GPIO_InitStruct.Mode = GPIO_MODE_INPUT;
  GPIO_InitStruct.Pull = GPIO_NOPULL;
  HAL_GPIO_Init(OTG_FS_OverCurrent_GPIO_Port, &GPIO_InitStruct);

  /*Configure GPIO pin : MEMS_INT2_Pin */
  GPIO_InitStruct.Pin = MEMS_INT2_Pin;
  GPIO_InitStruct.Mode = GPIO_MODE_EVT_RISING;
  GPIO_InitStruct.Pull = GPIO_NOPULL;
  HAL_GPIO_Init(MEMS_INT2_GPIO_Port, &GPIO_InitStruct);

}

/* USER CODE BEGIN Header_Task_sensor */
/**
  * @brief  Sensor: T = 10 ms, prioridad High (RM).
  */
/* USER CODE END Header_Task_sensor */
void Task_sensor(void *argument)
{
  /* USER CODE BEGIN 5 */
  uint32_t t_ant = 0;
  uint32_t n = 0;
  uint32_t t_sig = osKernelGetTickCount();

  for(;;)
  {
    uint32_t t_act = t_sig;

    // Reto 1.8: periodo y jitter
    uint32_t ahora = DWT->CYCCNT;
    if (n >= 2) {
        sensor_periodo_us = (ahora - t_ant) / 168;
        if (sensor_periodo_us > sensor_per_max_us) sensor_per_max_us = sensor_periodo_us;
        if (sensor_periodo_us < sensor_per_min_us) sensor_per_min_us = sensor_periodo_us;
        sensor_jitter_us = sensor_per_max_us - sensor_per_min_us;
    }
    t_ant = ahora;
    n++;

    uint32_t t0 = DWT->CYCCNT;
    leer_sensor();
#if EJEMPLO_CARRERA
    incrementa();
    privado_sensor++;
#endif
    uint32_t c = (DWT->CYCCNT - t0) / 168;
    if (c > c_sensor_max_us) c_sensor_max_us = c;

    // Reto 1.9: tiempo de respuesta
    sensor_R_ms = osKernelGetTickCount() - t_act;
    if (sensor_R_ms > sensor_R_max_ms) sensor_R_max_ms = sensor_R_ms;
    if (sensor_R_ms > 10) sensor_perdidos++;

    t_sig += 10;
    osDelayUntil(t_sig);
  }
  /* USER CODE END 5 */
}

/* USER CODE BEGIN Header_Task_proceso */
/**
* @brief Proceso: T = 20 ms, prioridad AboveNormal.
*/
/* USER CODE END Header_Task_proceso */
void Task_proceso(void *argument)
{
  /* USER CODE BEGIN Task_proceso */
  uint32_t t_sig = osKernelGetTickCount();
  for(;;)
  {
    uint32_t t0 = DWT->CYCCNT;

    convertir_mg();
    calcular_angulos();
    calcular_vibracion();
#if EJEMPLO_FPU
    comparar_fpu();
#endif
#if EJEMPLO_SOBRECARGA
    quemar_cpu_us(12000);             // Reto 1.9
#endif

    uint32_t c = (DWT->CYCCNT - t0) / 168;
    if (c > c_proceso_max_us) c_proceso_max_us = c;

    t_sig += 20;
    osDelayUntil(t_sig);
  }
  /* USER CODE END Task_proceso */
}

/* USER CODE BEGIN Header_Task_seguridad */
/**
* @brief Seguridad: T = 50 ms, prioridad Normal.
*/
/* USER CODE END Header_Task_seguridad */
void Task_seguridad(void *argument)
{
  /* USER CODE BEGIN Task_seguridad */
  uint32_t t_sig = osKernelGetTickCount();
  for(;;)
  {
    uint32_t t0 = DWT->CYCCNT;
    maquina_estados();
    uint32_t c = (DWT->CYCCNT - t0) / 168;
    if (c > c_seguridad_max_us) c_seguridad_max_us = c;

    leer_boton();                     // fuera de la medida de C

    t_sig += 50;
    osDelayUntil(t_sig);
  }
  /* USER CODE END Task_seguridad */
}

/* USER CODE BEGIN Header_Task_comms */
/**
* @brief Comms: T = 100 ms, prioridad BelowNormal. Creada pero vacia en el Hito 1.
*/
/* USER CODE END Header_Task_comms */
void Task_comms(void *argument)
{
  /* USER CODE BEGIN Task_comms */
  uint32_t t_sig = osKernelGetTickCount();
  for(;;)
  {
    uint32_t t0 = DWT->CYCCNT;
    /* vacia en el Hito 1 */
    uint32_t c = (DWT->CYCCNT - t0) / 168;
    if (c > c_comms_max_us) c_comms_max_us = c;

    t_sig += 100;
    osDelayUntil(t_sig);
  }
  /* USER CODE END Task_comms */
}

/* USER CODE BEGIN Header_Task_carrera */
/**
* @brief Carrera (Reto 1.12). Con EJEMPLO_CARRERA = 0 termina nada mas arrancar.
*/
/* USER CODE END Header_Task_carrera */
void Task_carrera(void *argument)
{
  /* USER CODE BEGIN Task_carrera */
#if EJEMPLO_CARRERA
  for(;;)
  {
    incrementa();
    privado_carrera++;
  }
#else
  osThreadExit();                     // ejemplo desactivado (Paso E.2)
#endif
  /* USER CODE END Task_carrera */
}

void Task_diagnostico(void *argument)
{
  /* USER CODE BEGIN Task_diagnostico */
  /* Infinite loop */
  uint32_t t_sig = osKernelGetTickCount();
  for(;;)
  {
	uint8_t id = 0;
	lis_read_safe(WHOAMI_REG, &id, 1);
	if (id != firma_esperada)
		error=1;

		estado=Fallo;
  }
  t_sig+=50;
  OsDelayUntil(t_sig);

  /* USER CODE END Task_diagnostico */
}

void HAL_TIM_PeriodElapsedCallback(TIM_HandleTypeDef *htim)
{
  if (htim->Instance == TIM6)
  {
    HAL_IncTick();
  }
}

void Error_Handler(void)
{
  __disable_irq();
  while (1)
  {
  }
}
